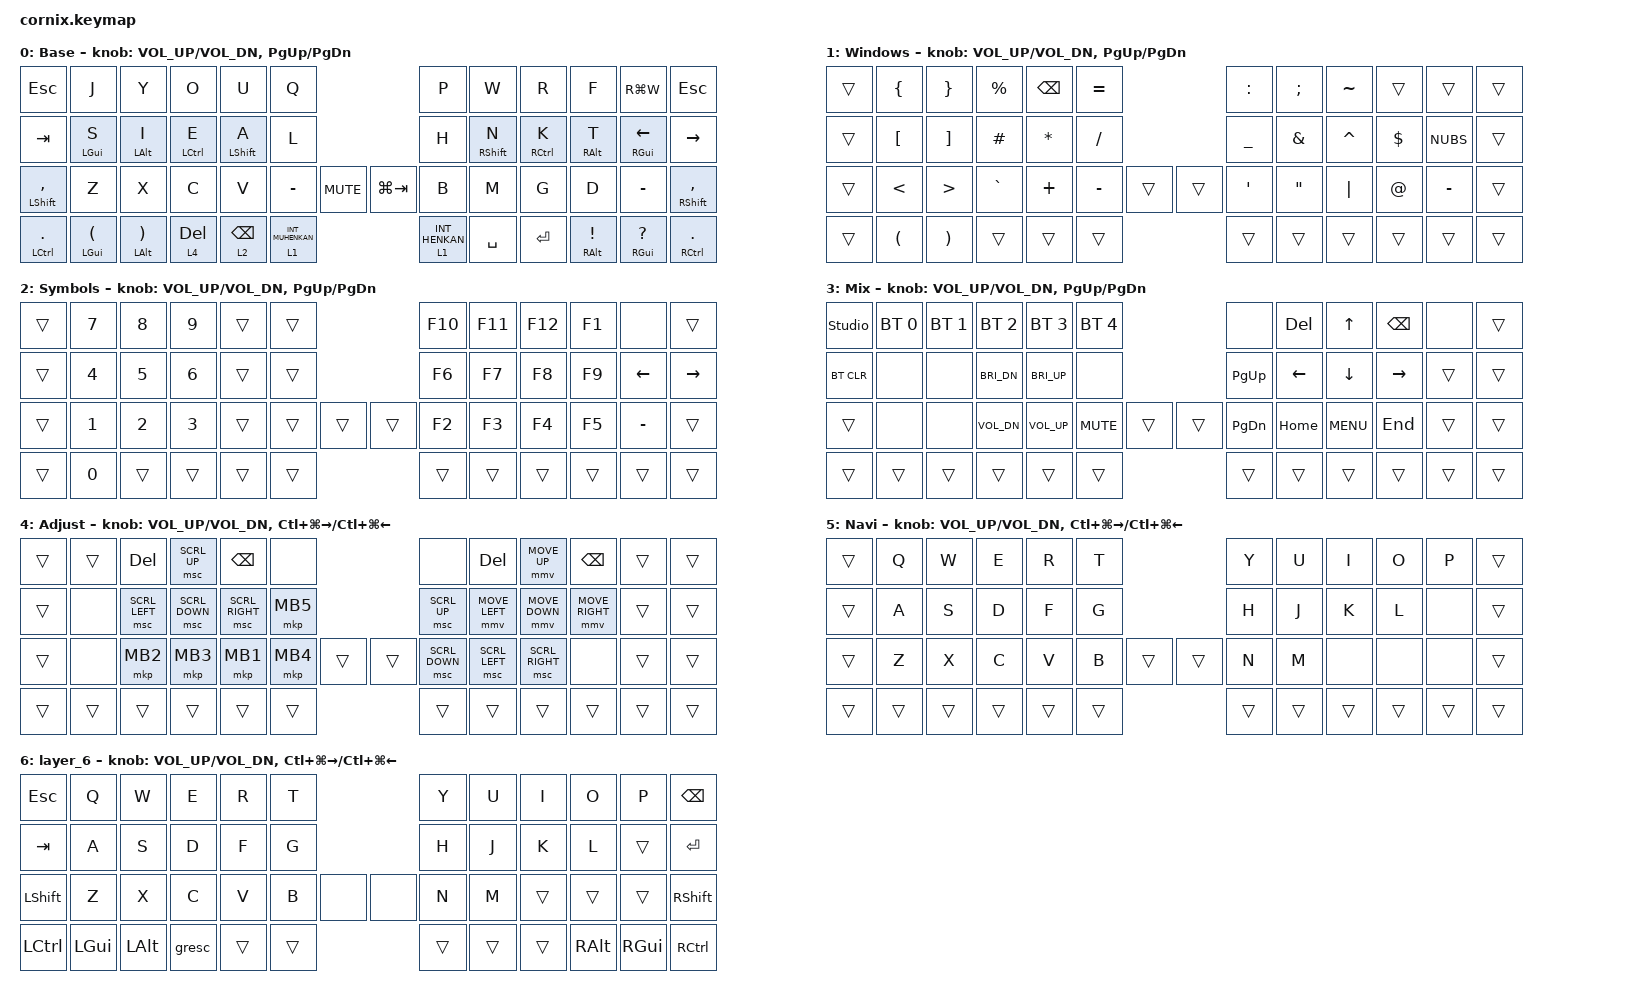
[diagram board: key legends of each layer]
/*
 * Copyright (c) 2020 The ZMK Contributors
 *
 * SPDX-License-Identifier: MIT
 */

#include "zmk-helpers/helper.h"
#include "includes/cornix54.h"

// tap windows for ctl alt and gui

#define HM_TAPPING_TERM 250
#define HM_TAPPING_REPEAT 210

// quick tapping for shift

#define HM_TAPPING_TERM_FAST 200
#define HM_PRIOR_IDLE 70
#define BASE 0
#define WIN 1
#define LOWER 2
#define RAISE 3
#define ADJUST 4
#define NAVI   5
#define NUM    6
#define DEBUG  7

// https://github.com/urob/zmk-config/tree/main#timeless-homerow-mods

#define KEYS_L LT0 LT1 LT2 LT3 LT4 LT5 LM0 LM1 LM2 LM3 LM4 LM5 LB0 LB1 LB2 LB3 LB4 LB5  // left hand
#define KEYS_R RT0 RT1 RT2 RT3 RT4 RT5 RM0 RM1 RM2 RM3 RM4 RM5 RB0 RB1 RB2 RB3 RB4 RB5  // right hand
#define THUMBS LH1 LH0 RH0 RH1
#define KEYS_T LH1 LH0 RH0 RH1
#define ZMK_POINTING_DEFAULT_SCRL_VAL 15

#include <behaviors.dtsi>
#include <dt-bindings/zmk/bt.h>
#include <dt-bindings/zmk/keys.h>
#include <dt-bindings/zmk/pointing.h>

/ {
    // Activate ADJUST layer by pressing raise and lower

    behaviors {
        hm_l: homerow_mods_left {
            compatible = "zmk,behavior-hold-tap";
            #binding-cells = <2>;
            bindings = <&kp>, <&kp>;

            flavor = "balanced";
            tapping-term-ms = <HM_TAPPING_TERM>;
            quick-tap-ms = <200>;                // repeat on tap-into-hold
            require-prior-idle-ms = <HM_PRIOR_IDLE>;
            hold-trigger-key-positions = <KEYS_R KEYS_T>;
            hold-trigger-on-release;
        };

        hm_r: homerow_mods_right {
            compatible = "zmk,behavior-hold-tap";
            #binding-cells = <2>;
            bindings = <&kp>, <&kp>;

            flavor = "balanced";
            tapping-term-ms = <HM_TAPPING_TERM>;
            quick-tap-ms = <200>;
            require-prior-idle-ms = <HM_PRIOR_IDLE>;
            hold-trigger-key-positions = <KEYS_L KEYS_T>;
            hold-trigger-on-release;
        };

        // Positional Homerow mods for shift
        // Use faster tapping term and disable some features that may
        // cause false negatives.
        /*
         * Non-Positional Homerow Mods
         * Used for &mm_grescm_gui behavior on left hand.
         *
         * Usage: &hm LSHFT T
         * Tap: T
         * Tap-Tap-Hold: Repeat T
         * Hold: LSHIFT
         */

        hm: homerow_mods {
            compatible = "zmk,behavior-hold-tap";
            #binding-cells = <2>;
            bindings = <&kp>, <&kp>;

            flavor = "balanced";
            tapping-term-ms = <HM_TAPPING_TERM>;
            quick-tap-ms = <200>;
        };

        lt: layer_tap {
            compatible = "zmk,behavior-hold-tap";
            #binding-cells = <2>;
            bindings = <&mo>, <&kp>;

            flavor = "hold-preferred";
            tapping-term-ms = <HM_TAPPING_TERM>;
            quick-tap-ms = <200>;
        };
    };

    conditional_layers { compatible = "zmk,conditional-layers"; };

    combos {
        compatible = "zmk,combos";

        CB_Brace {
            bindings = <&M_Brace>;
            key-positions = <1 2>;
        };

        CB_Bracket {
            bindings = <&M_Bracket>;
            key-positions = <13 14>;
        };

        CB_AngleBracket {
            bindings = <&M_AngleBracket>;
            key-positions = <25 26>;
        };

        CB_Paren {
            bindings = <&M_Paren>;
            key-positions = <39 40>;
        };
    };

    macros {
        M_Brace: M_Brace {
            compatible = "zmk,behavior-macro";
            #binding-cells = <0>;
            bindings = <&kp LEFT_BRACE &kp RIGHT_BRACE &kp LEFT_ARROW>;
            label = "M_BRACE";
        };

        M_Bracket: M_Bracket {
            compatible = "zmk,behavior-macro";
            #binding-cells = <0>;
            bindings = <&kp LEFT_BRACKET &kp RIGHT_BRACKET &kp LEFT_ARROW>;
            label = "M_BRACKET";
        };

        M_AngleBracket: M_AngleBracket {
            compatible = "zmk,behavior-macro";
            #binding-cells = <0>;
            bindings = <&kp LESS_THAN &kp GREATER_THAN &kp LEFT_ARROW>;
            label = "M_ANGLEBRACKET";
        };

        M_Paren: M_Paren {
            compatible = "zmk,behavior-macro";
            #binding-cells = <0>;
            bindings = <&kp LEFT_PARENTHESIS &kp RIGHT_PARENTHESIS &kp LEFT_ARROW>;
            label = "M_PAREN";
        };

        M_DQuote: M_DQuote {
            compatible = "zmk,behavior-macro";
            #binding-cells = <0>;
            bindings = <&kp DOUBLE_QUOTES &kp DOUBLE_QUOTES &kp LEFT_ARROW>;
            label = "M_DQUOTE";
        };

        M_SQuote: M_SQuote {
            compatible = "zmk,behavior-macro";
            #binding-cells = <0>;
            bindings = <&kp SQT &kp SQT &kp LEFT_ARROW>;
            label = "M_SQUOTE";
        };

        M_LessEqual: M_LessEqual {
            compatible = "zmk,behavior-macro";
            #binding-cells = <0>;
            bindings = <&kp LESS_THAN &kp EQUAL>;
            label = "M_LESSEQUAL";
        };

        M_GreaterEqual: M_GreaterEqual {
            compatible = "zmk,behavior-macro";
            #binding-cells = <0>;
            bindings = <&kp GREATER_THAN &kp EQUAL>;
            label = "M_GREATEREQUAL";
        };
    };

    keymap {
        compatible = "zmk,keymap";

        DEF {
            display-name = "Base";

            // ------------------------------------------------------------------------------------------------------------
            // |   `   |  1  |  2  |  3   |  4   |  5   |                   |  6   |  7    |  8    |  9   |   0   |       |
            // |  ESC  |  Q  |  W  |  E   |  R   |  T   |                   |  Y   |  U    |  I    |  O   |   P   | BKSPC |
            // |  TAB  |  A  |  S  |  D   |  F   |  G   |                   |  H   |  J    |  K    |  L   |   ;   |   '   |
            // | SHIFT |  Z  |  X  |  C   |  V   |  B   |  MUTE  |  |       |  N   |  M    |  ,    |  .   |   /   | SHIFT |
            //               | GUI | ALT  | CTRL | LOWER|  ENTER |  | SPACE | RAISE| CTRL  | ALT   | GUI  |

            bindings = <
&kp ESC           &kp J                          &kp Y                           &kp O          &kp U               &kp Q                                        &kp P             &kp W          &kp R          &kp F                      &kp RG(W)                   &kp ESC
&kp TAB           &hm_l LEFT_GUI S               &hm_l LEFT_ALT I                &hm_l LCTRL E  &hm_l LEFT_SHIFT A  &kp L                                        &kp H             &hm_r RSHFT N  &hm_r RCTRL K  &hm_r RALT T               &hm_r RIGHT_GUI LEFT_ARROW  &kp RIGHT_ARROW
&mt LSHFT COMMA   &kp Z                          &kp X                           &kp C          &kp V               &kp MINUS           &kp K_MUTE  &kp LG(TAB)  &kp B             &kp M          &kp G          &kp D                      &kp MINUS                   &mt RIGHT_SHIFT COMMA
&mt LCTRL PERIOD  &mt LEFT_GUI LEFT_PARENTHESIS  &mt LEFT_ALT RIGHT_PARENTHESIS  &lt 4 DEL      &lt 2 BSPC          &lt 1 INT_MUHENKAN                           &lt 1 INT_HENKAN  &kp SPACE      &kp ENTER      &mt RIGHT_ALT EXCLAMATION  &mt RIGHT_GUI QUESTION      &mt RCTRL PERIOD
            >;

            sensor-bindings = <&inc_dec_kp C_VOL_UP C_VOL_DN &inc_dec_kp PG_UP PG_DN>;
            label = "DEFAULT";
        };

        SYM {
            display-name = "Windows";

            // ------------------------------------------------------------------------------------------------------------
            // |   `   |  1  |  2  |  3   |  4   |  5   |                   |  6   |  7    |  8    |  9   |   0   |       |
            // |  ESC  |  Q  |  W  |  E   |  R   |  T   |                   |  Y   |  U    |  I    |  O   |   P   | BKSPC |
            // |  TAB  |  A  |  S  |  D   |  F   |  G   |                   |  H   |  J    |  K    |  L   |   ;   |   '   |
            // | SHIFT |  Z  |  X  |  C   |  V   |  B   |  MUTE  |  |       |  N   |  M    |  ,    |  .   |   /   | SHIFT |
            //               | GUI | ALT  | CTRL | LOWER|  ENTER |  | SPACE | RAISE| CTRL  | ALT   | GUI  |

            bindings = <
&trans  &kp LEFT_BRACE        &kp RIGHT_BRACE        &kp PERCENT  &kp BSPC      &kp EQUAL                  &kp COLON       &kp SEMICOLON      &kp TILDE  &trans       &trans     &trans
&trans  &kp LEFT_BRACKET      &kp RIGHT_BRACKET      &kp HASH     &kp ASTERISK  &kp SLASH                  &kp UNDERSCORE  &kp AMPERSAND      &kp CARET  &kp DOLLAR   &kp NUBS   &trans
&trans  &kp LESS_THAN         &kp GREATER_THAN       &kp GRAVE    &kp PLUS      &kp MINUS  &trans  &trans  &kp SQT         &kp DOUBLE_QUOTES  &kp PIPE   &kp AT_SIGN  &kp MINUS  &trans
&trans  &kp LEFT_PARENTHESIS  &kp RIGHT_PARENTHESIS  &trans       &trans        &trans                     &trans          &trans             &trans     &trans       &trans     &trans
            >;

            sensor-bindings = <&inc_dec_kp C_VOL_UP C_VOL_DN &inc_dec_kp PG_UP PG_DN>;
            label = "SYMBOL";
        };

        NUM {
            display-name = "Symbols";

            // TODO: Some binds are waiting for shifted keycode support.
            // -------------------------------
            // |       |  F1 |  F2 |  F3  |  F4  |  F5  |                   |  F6  |  F7   |  F8   |  F9  |  F10  |  F11  |
            // |   `   |  1  |  2  |  3   |  4   |  5   |                   |  6   |  7    |  8    |  9   |   0   |  F12  |
            // |       |  !  |  @  |  #   |  $   |  %   |                   |  ^   |  &    |  *    |  (   |   )   |   |   |
            // |       |  =  |  -  |  +   |  {   |  }   |        |  |       |  [   |  ]    |  ;    |  :   |   \   |       |
            //               |     |      |      |      |        |  |       |      |       |       |      |

            bindings = <
&trans  &kp N7  &kp N8  &kp N9        &trans  &trans                  &kp F10  &kp F11  &kp F12  &kp F1  &none           &trans
&trans  &kp N4  &kp N5  &kp NUMBER_6  &trans  &trans                  &kp F6   &kp F7   &kp F8   &kp F9  &kp LEFT_ARROW  &kp RIGHT_ARROW
&trans  &kp N1  &kp N2  &kp N3        &trans  &trans  &trans  &trans  &kp F2   &kp F3   &kp F4   &kp F5  &kp MINUS       &trans
&trans  &kp N0  &trans  &trans        &trans  &trans                  &trans   &trans   &trans   &trans  &trans          &trans
            >;

            sensor-bindings = <&inc_dec_kp C_VOL_UP C_VOL_DN &inc_dec_kp PG_UP PG_DN>;
            label = "NUMBER";
        };

        NAV {
            display-name = "Mix";

            // ------------------------------------------------------------------------------------------------------------
            // | BTCLR | BT1  | BT2  |  BT3  |  BT4  |  BT5 |                |      |      |       |      |       |       |
            // |       | INS  | PSCR | GUI   |       |      |                | PGUP |      |   ^   |      |       |       |
            // |       | ALT  | CTRL | SHIFT |       | CAPS |                | PGDN |   <- |   v   |  ->  |  DEL  | BKSPC |
            // |       | UNDO | CUT  | COPY  | PASTE |      |      |  |      |      |      |       |      |       |       |
            //                |      |       |       |      |      |  |      |      |      |       |      |

            bindings = <
&studio_unlock  &bt BT_SEL 0  &bt BT_SEL 1  &bt BT_SEL 2  &bt BT_SEL 3  &bt BT_SEL 4                  &none          &kp DEL         &kp UP_ARROW    &kp BSPC         &none   &trans
&bt BT_CLR      &none         &none         &kp C_BRI_DN  &kp C_BRI_UP  &none                         &kp PAGE_UP    &kp LEFT_ARROW  &kp DOWN_ARROW  &kp RIGHT_ARROW  &trans  &trans
&trans          &none         &none         &kp C_VOL_DN  &kp C_VOL_UP  &kp K_MUTE    &trans  &trans  &kp PAGE_DOWN  &kp HOME        &kp K_MENU      &kp END          &trans  &trans
&trans          &trans        &trans        &trans        &trans        &trans                        &trans         &trans          &trans          &trans           &trans  &trans
            >;

            sensor-bindings = <&inc_dec_kp C_VOL_UP C_VOL_DN &inc_dec_kp PG_UP PG_DN>;
            label = "NAVIGATION";
        };

        MOU {
            display-name = "Adjust";

            // ----------------------------------------------------------------------------------------------------------------------------
            // | BTCLR  |  BT1    |  BT2    |   BT3   |   BT4   |   BT5   |                  |      |      |       |      |       |       |
            // | moDEBUG| RGB_HUD | RGB_HUI | RGB_SAD | RGB_SAI | RGB_EFF |                  |      |      |       |      |       |       |
            // | EXTPWR | RGB_BRD | RGB_BRI |         |         |         |                  |      |      |       |      |       |       |
            // |        |         |         |         |         |         | RGB_TOG | |      |      |      |       |      |       |       |
            //                    |         |         |         |         |         | |      |      |      |       |      |

            bindings = <
&trans  &trans  &kp DEL         &msc SCRL_UP    &kp BSPC         &none                     &none           &kp DEL         &mmv MOVE_UP     &kp BSPC         &trans  &trans
&trans  &none   &msc SCRL_LEFT  &msc SCRL_DOWN  &msc SCRL_RIGHT  &mkp MB5                  &msc SCRL_UP    &mmv MOVE_LEFT  &mmv MOVE_DOWN   &mmv MOVE_RIGHT  &trans  &trans
&trans  &none   &mkp MB2        &mkp MB3        &mkp MB1         &mkp MB4  &trans  &trans  &msc SCRL_DOWN  &msc SCRL_LEFT  &msc SCRL_RIGHT  &none            &trans  &trans
&trans  &trans  &trans          &trans          &trans           &trans                    &trans          &trans          &trans           &trans           &trans  &trans
            >;

            label = "MOUSE";
            sensor-bindings =
                <&inc_dec_kp C_VOL_UP C_VOL_DN>,
                <&inc_dec_kp LC(LG(RIGHT_ARROW)) LC(LG(LEFT_ARROW))>;
        };

        QWE {
            display-name = "Navi";
            bindings = <
&trans  &kp Q   &kp W   &kp E   &kp R   &kp T                   &kp Y   &kp U   &kp I   &kp O   &kp P   &trans
&trans  &kp A   &kp S   &kp D   &kp F   &kp G                   &kp H   &kp J   &kp K   &kp L   &none   &trans
&trans  &kp Z   &kp X   &kp C   &kp V   &kp B   &trans  &trans  &kp N   &kp M   &none   &none   &none   &trans
&trans  &trans  &trans  &trans  &trans  &trans                  &trans  &trans  &trans  &trans  &trans  &trans
            >;

            label = "QWERTY";
            sensor-bindings =
                <&inc_dec_kp C_VOL_UP C_VOL_DN>,
                <&inc_dec_kp LC(LG(RIGHT_ARROW)) LC(LG(LEFT_ARROW))>;
        };

        layer_6 {
            bindings = <
&kp ESC    &kp Q     &kp W     &kp E   &kp R   &kp T                 &kp Y   &kp U   &kp I   &kp O     &kp P     &kp BSPC
&kp TAB    &kp A     &kp S     &kp D   &kp F   &kp G                 &kp H   &kp J   &kp K   &kp L     &trans    &kp RET
&kp LSHFT  &kp Z     &kp X     &kp C   &kp V   &kp B   &none  &none  &kp N   &kp M   &trans  &trans    &trans    &kp RSHFT
&kp LCTRL  &kp LGUI  &kp LALT  &gresc  &trans  &trans                &trans  &trans  &trans  &kp RALT  &kp RGUI  &kp RCTRL
            >;

            sensor-bindings =
                <&inc_dec_kp C_VOL_UP C_VOL_DN>,
                <&inc_dec_kp LC(LG(RIGHT_ARROW)) LC(LG(LEFT_ARROW))>;
        };
    };
};
